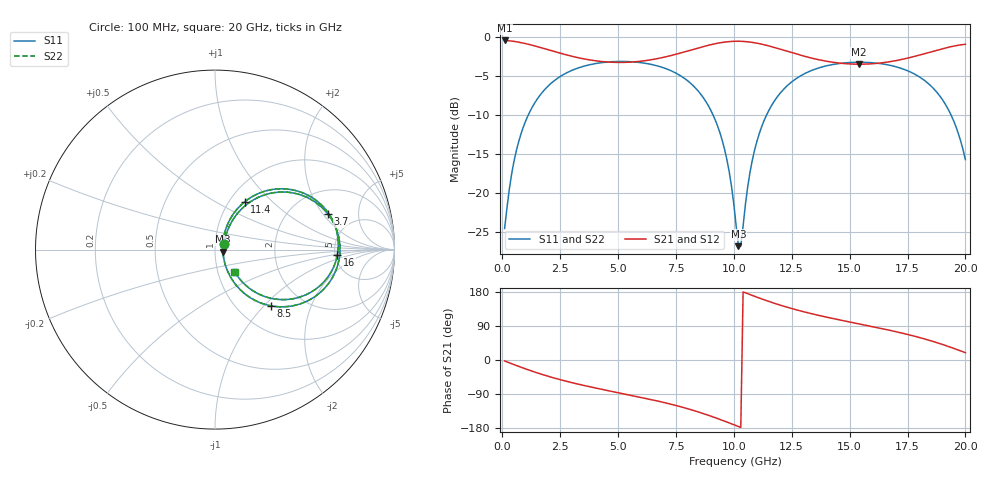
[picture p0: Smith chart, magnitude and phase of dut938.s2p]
! Touchstone file exported from HFSS 2026.1.0
!  File:  C:/ffzhzh/LocalFiles/Ansys_Project_Files/temp_train_TSV_RDL_938_1783281500_5512.aedt
!  Generated:  04:12:49 AM Jul  6, 2026
!  Design:  TSV_RDL
!  Project:  temp_train_TSV_RDL_938_1783281500_5512
! Variables:
!  h_bsmrdl = 3.49um
!  h_ox = 20um
!  h_rdl = 5um
!  h_sub = 61.81um
!  h_tmrdl = 2.79um
!  h_tsv = 61.81um
!  h_via = 3um
!  l_bsmrdl = 635.9um
!  l_sub = 5986.48um
!  l_tmrdl = 900um
!  m_sub = 200um
!  pitch = 54um
!  r_tsv = 8.41um
!  s_tmrdl = 10um
!  w_bsmrdl = 14.61um
!  w_sub = 500um
!  w_tmrdl = 11.65um
!  x_tsv_center1 = 905.825um
!  x_tsv_center2 = 1556.335um
!  x_tsv_center3 = 2467.985um
!  x_tsv_center4 = 3118.495um
!  x_tsv_center5 = 4030.145um
!  x_tsv_center6 = 4680.655um
# GHz S MA R 50.000000
! Terminal data exported
! Port[1] = TM_RDL1_1_T1
! Port[2] = TM_RDL5_1_T1
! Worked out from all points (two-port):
!   200 points, 100 MHz to 20 GHz, reference 50 ohm
!   highest |S21| = -0.46 dB at 100 MHz (marker M1); lowest = -3.5 dB at 15.4 GHz (marker M2)
!   |S21| within 3 dB of the highest: start of sweep to 14.94 GHz; 15.91 GHz to end of sweep
!   lowest |S11| = -26.8 dB at 10.2 GHz (marker M3), VSWR 1.10, Z = 54.6 - j1.35 ohm
!   |S11| at or under -10 dB: start of sweep to 1.124 GHz; 9.101 GHz to 11.42 GHz (2.314 GHz wide, 22.6 % of centre); 19.38 GHz to end of sweep
!   |S22| runs from -26.8 to -3.1 dB; largest |S21 - S12| = 1.6e-14
!   S11 on the Smith chart (normalised r, x): 100 MHz: 1.11, +0.06; 3.7 GHz: 3.19, +2.24; 8.5 GHz: 1.41, -1.10; 11.4 GHz: 1.17, +0.69; 16 GHz: 5.24, -0.58; 20 GHz: 1.20, -0.30
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0.1  0.05923 28.9  0.949 -2.5  0.949 -2.5  0.05923 28.9
! Gamma 0 0 0 0
! Port Impedance 50 0 50 0
0.5  0.1583 58.6  0.9363 -12.1  0.9363 -12.1  0.1583 58.6
1.2  0.3338 53.4  0.8917 -27.7  0.8917 -27.7  0.3338 53.4
2.2  0.5179 38.1  0.8097 -46.8  0.8097 -46.8  0.5179 38.1
3.5  0.6477 20.0  0.7242 -66.9  0.7242 -66.9  0.6477 20.0
3.7  0.6594 17.5  0.7152 -69.6  0.7152 -69.6  0.6594 17.5
5.3  0.6959 -1.5  0.6868 -89.9  0.6868 -89.9  0.6959 -1.5
6.8  0.6455 -19.8  0.731 -109.5  0.731 -109.5  0.6455 -19.8
8.5  0.4427 -45.1  0.8525 -137.7  0.8525 -137.7  0.4427 -45.1
9.5  0.2168 -59.8  0.9217 -159.1  0.9217 -159.1  0.2168 -59.8
9.8  0.1368 -59.6  0.9331 -166.0  0.9331 -166.0  0.1368 -59.6
10.1  0.06137 -40.1  0.938 -173.2  0.938 -173.2  0.06146 -40.0
10.2  0.0456 -15.7  0.938 -175.6  0.938 -175.6  0.04573 -15.6
10.3  0.04568 19.2  0.9373 -177.9  0.9373 -177.9  0.04581 19.1
10.8  0.1628 63.7  0.9223 170.3  0.9223 170.3  0.1628 63.6
11.4  0.3128 58.2  0.8841 156.9  0.8841 156.9  0.3128 58.2
13.4  0.6129 28.3  0.729 121.5  0.729 121.5  0.613 28.3
15.4  0.6884 4.4  0.6683 95.4  0.6683 95.4  0.6884 4.4
16  0.6828 -2.5  0.6732 87.9  0.6732 87.9  0.6828 -2.5
16.7  0.6598 -10.7  0.6921 78.8  0.6921 78.8  0.6598 -10.7
18.8  0.4359 -39.3  0.8241 45.2  0.8241 45.2  0.436 -39.2
20  0.1635 -48.4  0.8973 19.3  0.8973 19.3  0.1637 -48.3
